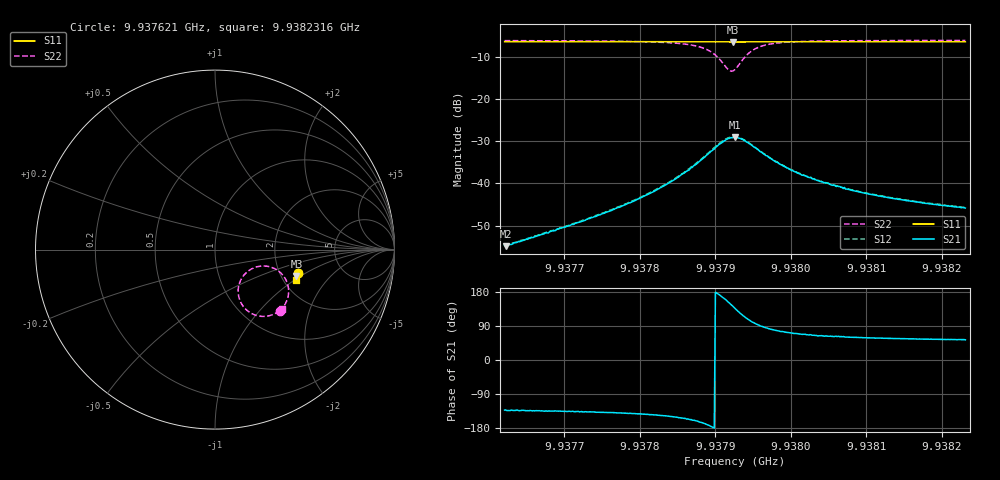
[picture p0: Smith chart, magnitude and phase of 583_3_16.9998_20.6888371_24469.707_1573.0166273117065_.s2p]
#  HZ  S  RI  R  50.00
! Rohde & Schwarz Vector Network Analyzer
! Rohde-Schwarz,ZNB20-2Port,1311601062101988,3.16
! Created: UTC 3/20/2024, 11:18:13 PM
! freq[Hz]  re:S11  im:S11  re:S21  im:S21  re:S12  im:S12  re:S22  im:S22
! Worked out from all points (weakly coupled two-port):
!   401 points, 9.937621 GHz to 9.9382316 GHz, reference 50 ohm
!   highest |S21| = -29.03 dB at 9.9379263 GHz (marker M1); lowest = -54.9 dB at 9.9376225 GHz (marker M2)
!   lowest |S11| = -6.4 dB at 9.9379232 GHz (marker M3), VSWR 2.82, Z = 121 - j45.9 ohm
!   |S11| at or under -10 dB: nowhere
!   |S22| runs from -13.4 to -6.1 dB; largest |S21 - S12| = 0.0016
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9.93762097e9  0.4646 -0.1294  -0.00123 -0.00136  -0.00124 -0.00134  0.3604 -0.3398
9.9376225e9  0.4645 -0.1295  -0.0012 -0.00134  -0.00127 -0.00134  0.3601 -0.3401
9.93772325e9  0.4621 -0.1362  -0.00255 -0.00247  -0.00266 -0.00244  0.3431 -0.3518
9.93779042e9  0.4603 -0.1409  -0.00478 -0.00381  -0.00489 -0.00381  0.3202 -0.3628
9.93782554e9  0.4591 -0.1434  -0.00718 -0.00486  -0.00743 -0.00483  0.2977 -0.3695
9.93785759e9  0.4579 -0.1458  -0.0118 -0.00585  -0.012 -0.00575  0.2593 -0.3719
9.93788507e9  0.4561 -0.1476  -0.0197 -0.00448  -0.0203 -0.00417  0.1952 -0.3511
9.93789881e9  0.4549 -0.1481  -0.0256 -0.000142  -0.0267 0.000522  0.151 -0.3071
9.9379095e9  0.454 -0.1479  -0.0299 0.00744  -0.0306 0.00851  0.1291 -0.2398
9.93791713e9  0.4537 -0.1474  -0.0304 0.0153  -0.0306 0.0167  0.1402 -0.177
9.93792324e9  0.4534 -0.1471  -0.0277 0.0214  -0.0275 0.023  0.1723 -0.1305
9.93792629e9  0.4536 -0.1468  -0.0255 0.0245  -0.0249 0.0258  0.1948 -0.1128
9.93793392e9  0.4543 -0.1467  -0.0182 0.0287  -0.0173 0.0297  0.2588 -0.0917
9.93794461e9  0.455 -0.1471  -0.00833 0.0288  -0.00736 0.0295  0.3353 -0.1075
9.93795987e9  0.4558 -0.1484  6.11e-05 0.0238  0.000535 0.0241  0.3901 -0.1594
9.93797667e9  0.456 -0.1502  0.00337 0.0186  0.00387 0.0189  0.4078 -0.2064
9.93800109e9  0.4556 -0.1522  0.00455 0.0136  0.005 0.0136  0.4092 -0.2485
9.93802857e9  0.4549 -0.1543  0.00479 0.0104  0.00493 0.0103  0.4033 -0.2754
9.93807589e9  0.4538 -0.1577  0.00422 0.00741  0.00438 0.0074  0.393 -0.3001
9.93813085e9  0.4523 -0.1616  0.00368 0.00568  0.00384 0.00568  0.3838 -0.3155
9.93817512e9  0.4511 -0.1645  0.00333 0.00481  0.00347 0.00481  0.3777 -0.3235
9.9382316e9  0.4494 -0.1682  0.00306 0.0041  0.00317 0.00415  0.3713 -0.3313
